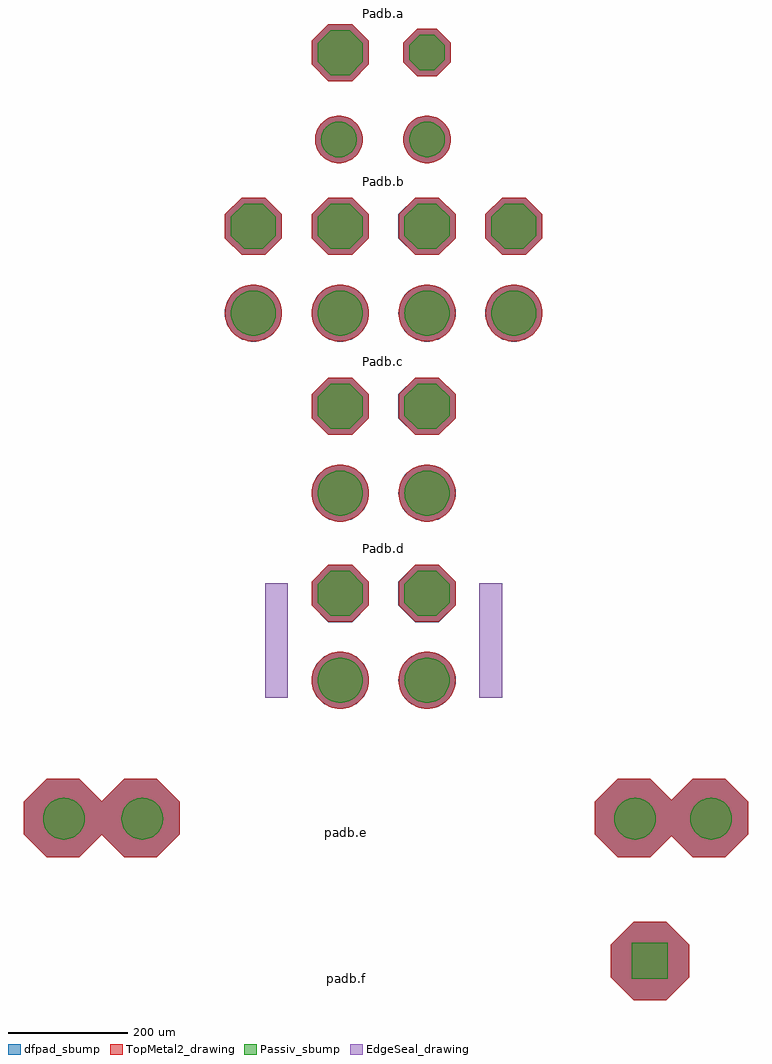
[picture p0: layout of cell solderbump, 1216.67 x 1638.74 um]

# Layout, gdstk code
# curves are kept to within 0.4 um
import gdstk
lib = gdstk.Library(unit=1e-6, precision=1e-09)
def R(c, l, rs):  # rectangles x0, y0, x1, y1
    for r in rs: c.add(gdstk.rectangle(r[:2], r[2:], *l))
def P(c, l, *ps):  # polygons
    for p in ps: c.add(gdstk.Polygon(p, *l))
Passiv_sbump = (9, 36)
EdgeSeal_drawing = (39, 0)
dfpad_sbump = (41, 36)
TopMetal2_drawing = (134, 0)

solderbump = lib.new_cell('solderbump')
R(solderbump, Passiv_sbump, [(416.93,-1639.755,476.95,-1579.735)])
P(solderbump, Passiv_sbump, [(72.9,-260.55),(67.05,-260),(61.45,-258.25),(56.25,-255.5),(51.7,-251.8),(48,-247.25),(45.2,-242.05),(43.5,-236.45),(42.95,-230.6),(43.5,-224.75),(45.2,-219.15),(48,-213.95),(51.7,-209.4),(56.25,-205.65),(61.45,-202.9),(67.05,-201.2),(72.9,-200.65),(78.75,-201.2),(84.35,-202.9),(89.55,-205.65),(94.1,-209.4),(97.8,-213.95),(100.6,-219.15),(102.3,-224.75),(102.85,-230.6),(102.3,-236.45),(100.6,-242.05),(97.8,-247.25),(94.1,-251.8),(89.55,-255.5),(84.35,-258.3),(78.75,-260)],
  [(72.9,-862.38),(65.505,-861.65),(58.395,-859.495),(51.845,-855.995),(46.1,-851.28),(41.385,-845.535),(37.885,-838.985),(35.73,-831.875),(35,-824.48),(35.73,-817.085),(37.885,-809.975),(41.385,-803.425),(46.1,-797.68),(51.845,-792.965),(58.395,-789.465),(65.505,-787.31),(72.9,-786.58),(80.295,-787.31),(87.405,-789.465),(93.955,-792.965),(99.7,-797.68),(104.415,-803.425),(107.915,-809.975),(110.07,-817.085),(110.8,-824.48),(110.07,-831.875),(107.915,-838.985),(104.415,-845.535),(99.7,-851.28),(93.955,-855.995),(87.405,-859.495),(80.295,-861.65)],
  [(72.9,-1176.57),(65.505,-1175.84),(58.395,-1173.685),(51.845,-1170.185),(46.1,-1165.47),(41.385,-1159.725),(37.885,-1153.175),(35.73,-1146.065),(35,-1138.67),(35.73,-1131.275),(37.885,-1124.165),(41.385,-1117.615),(46.1,-1111.87),(51.845,-1107.155),(58.395,-1103.655),(65.505,-1101.5),(72.9,-1100.77),(80.295,-1101.5),(87.405,-1103.655),(93.955,-1107.155),(99.7,-1111.87),(104.415,-1117.615),(107.915,-1124.165),(110.07,-1131.275),(110.8,-1138.67),(110.07,-1146.065),(107.915,-1153.175),(104.415,-1159.725),(99.7,-1165.47),(93.955,-1170.185),(87.405,-1173.685),(80.295,-1175.84)],
  [(-88.6,-414.29),(-110.8,-392.09),(-110.8,-360.69),(-88.6,-338.49),(-57.2,-338.49),(-35,-360.69),(-35,-392.09),(-57.2,-414.29)],
  [(57.2,-414.29),(35,-392.09),(35,-360.69),(57.2,-338.49),(88.6,-338.49),(110.8,-360.69),(110.8,-392.09),(88.6,-414.29)],
  [(-234.4,-414.29),(-256.6,-392.09),(-256.6,-360.69),(-234.4,-338.49),(-203,-338.49),(-180.8,-360.69),(-180.8,-392.09),(-203,-414.29)],
  [(202.99,-414.29),(180.79,-392.09),(180.79,-360.69),(202.99,-338.49),(234.39,-338.49),(256.59,-360.69),(256.59,-392.09),(234.39,-414.29)],
  [(-88.6,-716.58),(-110.8,-694.38),(-110.8,-662.98),(-88.6,-640.78),(-57.2,-640.78),(-35,-662.98),(-35,-694.38),(-57.2,-716.58)],
  [(57.2,-716.58),(35,-694.38),(35,-662.98),(57.2,-640.78),(88.6,-640.78),(110.8,-662.98),(110.8,-694.38),(88.6,-716.58)],
  [(-88.6,-1030.77),(-110.8,-1008.57),(-110.8,-977.17),(-88.6,-954.97),(-57.2,-954.97),(-35,-977.17),(-35,-1008.57),(-57.2,-1030.77)],
  [(57.2,-1030.77),(35,-1008.57),(35,-977.17),(57.2,-954.97),(88.6,-954.97),(110.8,-977.17),(110.8,-1008.57),(88.6,-1030.77)],
  [(-72.9,-560.09),(-80.295,-559.36),(-87.405,-557.205),(-93.955,-553.705),(-99.7,-548.99),(-104.415,-543.245),(-107.915,-536.695),(-110.07,-529.585),(-110.8,-522.19),(-110.07,-514.795),(-107.915,-507.685),(-104.415,-501.135),(-99.7,-495.39),(-93.955,-490.675),(-87.405,-487.175),(-80.295,-485.02),(-72.9,-484.29),(-65.505,-485.02),(-58.395,-487.175),(-51.845,-490.675),(-46.1,-495.39),(-41.385,-501.135),(-37.885,-507.685),(-35.73,-514.795),(-35,-522.19),(-35.73,-529.585),(-37.885,-536.695),(-41.385,-543.245),(-46.1,-548.99),(-51.845,-553.705),(-58.395,-557.205),(-65.505,-559.36)],
  [(-72.9,-1176.57),(-80.295,-1175.84),(-87.405,-1173.685),(-93.955,-1170.185),(-99.7,-1165.47),(-104.415,-1159.725),(-107.915,-1153.175),(-110.07,-1146.065),(-110.8,-1138.67),(-110.07,-1131.275),(-107.915,-1124.165),(-104.415,-1117.615),(-99.7,-1111.87),(-93.955,-1107.155),(-87.405,-1103.655),(-80.295,-1101.5),(-72.9,-1100.77),(-65.505,-1101.5),(-58.395,-1103.655),(-51.845,-1107.155),(-46.1,-1111.87),(-41.385,-1117.615),(-37.885,-1124.165),(-35.73,-1131.275),(-35,-1138.67),(-35.73,-1146.065),(-37.885,-1153.175),(-41.385,-1159.725),(-46.1,-1165.47),(-51.845,-1170.185),(-58.395,-1173.685),(-65.505,-1175.84)],
  [(-218.7,-560.09),(-226.095,-559.36),(-233.205,-557.205),(-239.755,-553.705),(-245.5,-548.99),(-250.215,-543.245),(-253.715,-536.695),(-255.87,-529.585),(-256.6,-522.19),(-255.87,-514.795),(-253.715,-507.685),(-250.215,-501.135),(-245.5,-495.39),(-239.755,-490.675),(-233.205,-487.175),(-226.095,-485.02),(-218.7,-484.29),(-211.305,-485.02),(-204.195,-487.175),(-197.645,-490.675),(-191.9,-495.39),(-187.185,-501.135),(-183.685,-507.685),(-181.53,-514.795),(-180.8,-522.19),(-181.53,-529.585),(-183.685,-536.695),(-187.185,-543.245),(-191.9,-548.99),(-197.645,-553.705),(-204.195,-557.205),(-211.305,-559.36)],
  [(72.9,-560.09),(65.505,-559.36),(58.395,-557.205),(51.845,-553.705),(46.1,-548.99),(41.385,-543.245),(37.885,-536.695),(35.73,-529.585),(35,-522.19),(35.73,-514.795),(37.885,-507.685),(41.385,-501.135),(46.1,-495.39),(51.845,-490.675),(58.395,-487.175),(65.505,-485.02),(72.9,-484.29),(80.295,-485.02),(87.405,-487.175),(93.955,-490.675),(99.7,-495.39),(104.415,-501.135),(107.915,-507.685),(110.07,-514.795),(110.8,-522.19),(110.07,-529.585),(107.915,-536.695),(104.415,-543.245),(99.7,-548.99),(93.955,-553.705),(87.405,-557.205),(80.295,-559.36)],
  [(-72.9,-862.38),(-80.295,-861.65),(-87.405,-859.495),(-93.955,-855.995),(-99.7,-851.28),(-104.415,-845.535),(-107.915,-838.985),(-110.07,-831.875),(-110.8,-824.48),(-110.07,-817.085),(-107.915,-809.975),(-104.415,-803.425),(-99.7,-797.68),(-93.955,-792.965),(-87.405,-789.465),(-80.295,-787.31),(-72.9,-786.58),(-65.505,-787.31),(-58.395,-789.465),(-51.845,-792.965),(-46.1,-797.68),(-41.385,-803.425),(-37.885,-809.975),(-35.73,-817.085),(-35,-824.48),(-35.73,-831.875),(-37.885,-838.985),(-41.385,-845.535),(-46.1,-851.28),(-51.845,-855.995),(-58.395,-859.495),(-65.505,-861.65)],
  [(218.69,-560.09),(211.295,-559.36),(204.185,-557.205),(197.635,-553.705),(191.89,-548.99),(187.175,-543.245),(183.675,-536.695),(181.52,-529.585),(180.79,-522.19),(181.52,-514.795),(183.675,-507.685),(187.175,-501.135),(191.89,-495.39),(197.635,-490.675),(204.185,-487.175),(211.295,-485.02),(218.69,-484.29),(226.085,-485.02),(233.195,-487.175),(239.745,-490.675),(245.49,-495.39),(250.205,-501.135),(253.705,-507.685),(255.86,-514.795),(256.59,-522.19),(255.86,-529.585),(253.705,-536.695),(250.205,-543.245),(245.49,-548.99),(239.745,-553.705),(233.195,-557.205),(226.085,-559.36)],
  [(60.45,-114.75),(42.9,-97.2),(42.9,-72.35),(60.5,-54.8),(85.3,-54.8),(102.85,-72.35),(102.85,-97.2),(85.3,-114.75)],
  [(-75.205,-260.65),(-81.075,-260.1),(-86.695,-258.34),(-91.915,-255.58),(-96.475,-251.87),(-100.185,-247.31),(-102.995,-242.09),(-104.705,-236.47),(-105.255,-230.6),(-104.705,-224.73),(-102.995,-219.11),(-100.185,-213.89),(-96.475,-209.33),(-91.915,-205.57),(-86.695,-202.81),(-81.075,-201.1),(-75.205,-200.55),(-69.335,-201.1),(-63.715,-202.81),(-58.495,-205.57),(-53.935,-209.33),(-50.225,-213.89),(-47.415,-219.11),(-45.705,-224.73),(-45.155,-230.6),(-45.705,-236.47),(-47.415,-242.09),(-50.225,-247.31),(-53.935,-251.87),(-58.495,-255.58),(-63.715,-258.39),(-69.335,-260.1)],
  [(-88.6,-122.69),(-110.8,-100.49),(-110.8,-69.09),(-88.6,-46.89),(-57.2,-46.89),(-35,-69.09),(-35,-100.49),(-57.2,-122.69)],
  [(420.351,-1406.114),(413.555,-1405.106),(407.088,-1402.792),(401.195,-1399.26),(396.105,-1394.647),(392.013,-1389.129),(389.076,-1382.919),(387.407,-1376.256),(387.07,-1369.395),(388.078,-1362.599),(390.392,-1356.132),(393.924,-1350.239),(398.537,-1345.149),(404.055,-1341.057),(410.265,-1338.12),(416.928,-1336.451),(423.789,-1336.114),(430.585,-1337.122),(437.052,-1339.436),(442.945,-1342.968),(448.035,-1347.581),(452.127,-1353.099),(455.064,-1359.309),(456.733,-1365.972),(457.07,-1372.833),(456.062,-1379.629),(453.748,-1386.096),(450.216,-1391.989),(445.603,-1397.079),(440.085,-1401.171),(433.875,-1404.108),(427.212,-1405.777)],
  [(548.106,-1406.114),(541.31,-1405.106),(534.843,-1402.792),(528.95,-1399.26),(523.86,-1394.647),(519.768,-1389.129),(516.831,-1382.919),(515.162,-1376.256),(514.825,-1369.395),(515.833,-1362.599),(518.147,-1356.132),(521.679,-1350.239),(526.292,-1345.149),(531.81,-1341.057),(538.02,-1338.12),(544.683,-1336.451),(551.544,-1336.114),(558.34,-1337.122),(564.807,-1339.436),(570.7,-1342.968),(575.79,-1347.581),(579.882,-1353.099),(582.819,-1359.309),(584.488,-1365.972),(584.825,-1372.833),(583.817,-1379.629),(581.503,-1386.096),(577.971,-1391.989),(573.358,-1397.079),(567.84,-1401.171),(561.63,-1404.108),(554.967,-1405.777)],
  [(-538.649,-1406.114),(-545.445,-1405.106),(-551.912,-1402.792),(-557.805,-1399.26),(-562.895,-1394.647),(-566.987,-1389.129),(-569.924,-1382.919),(-571.593,-1376.256),(-571.93,-1369.395),(-570.922,-1362.599),(-568.608,-1356.132),(-565.076,-1350.239),(-560.463,-1345.149),(-554.945,-1341.057),(-548.735,-1338.12),(-542.072,-1336.451),(-535.211,-1336.114),(-528.415,-1337.122),(-521.948,-1339.436),(-516.055,-1342.968),(-510.965,-1347.581),(-506.873,-1353.099),(-503.936,-1359.309),(-502.267,-1365.972),(-501.93,-1372.833),(-502.938,-1379.629),(-505.252,-1386.096),(-508.784,-1391.989),(-513.397,-1397.079),(-518.915,-1401.171),(-525.125,-1404.108),(-531.788,-1405.777)],
  [(-406.894,-1406.114),(-413.69,-1405.106),(-420.157,-1402.792),(-426.05,-1399.26),(-431.14,-1394.647),(-435.232,-1389.129),(-438.169,-1382.919),(-439.838,-1376.256),(-440.175,-1369.395),(-439.167,-1362.599),(-436.853,-1356.132),(-433.321,-1350.239),(-428.708,-1345.149),(-423.19,-1341.057),(-416.98,-1338.12),(-410.317,-1336.451),(-403.456,-1336.114),(-396.66,-1337.122),(-390.193,-1339.436),(-384.3,-1342.968),(-379.21,-1347.581),(-375.118,-1353.099),(-372.181,-1359.309),(-370.512,-1365.972),(-370.175,-1372.833),(-371.183,-1379.629),(-373.497,-1386.096),(-377.029,-1391.989),(-381.642,-1397.079),(-387.16,-1401.171),(-393.37,-1404.108),(-400.033,-1405.777)])
R(solderbump, EdgeSeal_drawing, [(-198.765,-1168.255,-160.8,-975.4), (160.79,-1168.255,198.755,-975.4)])
P(solderbump, dfpad_sbump, [(-92.785,-132.795),(-120.9,-104.68),(-120.9,-64.9),(-92.785,-36.785),(-53.015,-36.785),(-24.9,-64.9),(-24.9,-104.68),(-53.015,-132.795)],
  [(218.69,-570.2),(209.325,-569.275),(200.32,-566.545),(192.015,-562.11),(184.74,-556.14),(178.77,-548.865),(174.335,-540.56),(171.605,-531.555),(170.68,-522.19),(171.605,-512.825),(174.335,-503.82),(178.77,-495.515),(184.74,-488.24),(192.015,-482.27),(200.32,-477.835),(209.325,-475.105),(218.69,-474.18),(228.055,-475.105),(237.06,-477.835),(245.365,-482.27),(252.64,-488.24),(258.61,-495.515),(263.045,-503.82),(265.775,-512.825),(266.7,-522.19),(265.775,-531.555),(263.045,-540.56),(258.61,-548.865),(252.64,-556.14),(245.365,-562.11),(237.06,-566.545),(228.055,-569.275)],
  [(198.805,-424.395),(170.69,-396.28),(170.69,-356.5),(198.805,-328.385),(238.575,-328.385),(266.69,-356.5),(266.69,-396.28),(238.575,-424.395)],
  [(72.9,-1186.68),(63.535,-1185.755),(54.53,-1183.025),(46.225,-1178.59),(38.95,-1172.62),(32.98,-1165.345),(28.545,-1157.04),(25.815,-1148.035),(24.89,-1138.67),(25.815,-1129.305),(28.545,-1120.3),(32.98,-1111.995),(38.95,-1104.72),(46.225,-1098.75),(54.53,-1094.315),(63.535,-1091.585),(72.9,-1090.66),(82.265,-1091.585),(91.27,-1094.315),(99.575,-1098.75),(106.85,-1104.72),(112.82,-1111.995),(117.255,-1120.3),(119.985,-1129.305),(120.91,-1138.67),(119.985,-1148.035),(117.255,-1157.04),(112.82,-1165.345),(106.85,-1172.62),(99.575,-1178.59),(91.27,-1183.025),(82.265,-1185.755)],
  [(72.9,-872.49),(63.535,-871.565),(54.53,-868.835),(46.225,-864.4),(38.95,-858.43),(32.98,-851.155),(28.545,-842.85),(25.815,-833.845),(24.89,-824.48),(25.815,-815.115),(28.545,-806.11),(32.98,-797.805),(38.95,-790.53),(46.225,-784.56),(54.53,-780.125),(63.535,-777.395),(72.9,-776.47),(82.265,-777.395),(91.27,-780.125),(99.575,-784.56),(106.85,-790.53),(112.82,-797.805),(117.255,-806.11),(119.985,-815.115),(120.91,-824.48),(119.985,-833.845),(117.255,-842.85),(112.82,-851.155),(106.85,-858.43),(99.575,-864.4),(91.27,-868.835),(82.265,-871.565)],
  [(72.9,-570.2),(63.535,-569.275),(54.53,-566.545),(46.225,-562.11),(38.95,-556.14),(32.98,-548.865),(28.545,-540.56),(25.815,-531.555),(24.89,-522.19),(25.815,-512.825),(28.545,-503.82),(32.98,-495.515),(38.95,-488.24),(46.225,-482.27),(54.53,-477.835),(63.535,-475.105),(72.9,-474.18),(82.265,-475.105),(91.27,-477.835),(99.575,-482.27),(106.85,-488.24),(112.82,-495.515),(117.255,-503.82),(119.985,-512.825),(120.91,-522.19),(119.985,-531.555),(117.255,-540.56),(112.82,-548.865),(106.85,-556.14),(99.575,-562.11),(91.27,-566.545),(82.265,-569.275)],
  [(53.015,-1040.875),(24.9,-1012.76),(24.9,-972.98),(53.015,-944.865),(92.785,-944.865),(120.9,-972.98),(120.9,-1012.76),(92.785,-1040.875)],
  [(53.015,-726.685),(24.9,-698.57),(24.9,-658.79),(53.015,-630.675),(92.785,-630.675),(120.9,-658.79),(120.9,-698.57),(92.785,-726.685)],
  [(53.015,-424.395),(24.9,-396.28),(24.9,-356.5),(53.015,-328.385),(92.785,-328.385),(120.9,-356.5),(120.9,-396.28),(92.785,-424.395)],
  [(-72.9,-1186.68),(-82.265,-1185.755),(-91.27,-1183.025),(-99.575,-1178.59),(-106.85,-1172.62),(-112.82,-1165.345),(-117.255,-1157.04),(-119.985,-1148.035),(-120.91,-1138.67),(-119.985,-1129.305),(-117.255,-1120.3),(-112.82,-1111.995),(-106.85,-1104.72),(-99.575,-1098.75),(-91.27,-1094.315),(-82.265,-1091.585),(-72.9,-1090.66),(-63.535,-1091.585),(-54.53,-1094.315),(-46.225,-1098.75),(-38.95,-1104.72),(-32.98,-1111.995),(-28.545,-1120.3),(-25.815,-1129.305),(-24.89,-1138.67),(-25.815,-1148.035),(-28.545,-1157.04),(-32.98,-1165.345),(-38.95,-1172.62),(-46.225,-1178.59),(-54.53,-1183.025),(-63.535,-1185.755)],
  [(-72.9,-872.49),(-82.265,-871.565),(-91.27,-868.835),(-99.575,-864.4),(-106.85,-858.43),(-112.82,-851.155),(-117.255,-842.85),(-119.985,-833.845),(-120.91,-824.48),(-119.985,-815.115),(-117.255,-806.11),(-112.82,-797.805),(-106.85,-790.53),(-99.575,-784.56),(-91.27,-780.125),(-82.265,-777.395),(-72.9,-776.47),(-63.535,-777.395),(-54.53,-780.125),(-46.225,-784.56),(-38.95,-790.53),(-32.98,-797.805),(-28.545,-806.11),(-25.815,-815.115),(-24.89,-824.48),(-25.815,-833.845),(-28.545,-842.85),(-32.98,-851.155),(-38.95,-858.43),(-46.225,-864.4),(-54.53,-868.835),(-63.535,-871.565)],
  [(-72.9,-570.2),(-82.265,-569.275),(-91.27,-566.545),(-99.575,-562.11),(-106.85,-556.14),(-112.82,-548.865),(-117.255,-540.56),(-119.985,-531.555),(-120.91,-522.19),(-119.985,-512.825),(-117.255,-503.82),(-112.82,-495.515),(-106.85,-488.24),(-99.575,-482.27),(-91.27,-477.835),(-82.265,-475.105),(-72.9,-474.18),(-63.535,-475.105),(-54.53,-477.835),(-46.225,-482.27),(-38.95,-488.24),(-32.98,-495.515),(-28.545,-503.82),(-25.815,-512.825),(-24.89,-522.19),(-25.815,-531.555),(-28.545,-540.56),(-32.98,-548.865),(-38.95,-556.14),(-46.225,-562.11),(-54.53,-566.545),(-63.535,-569.275)],
  [(-92.785,-1040.875),(-120.9,-1012.76),(-120.9,-972.98),(-92.785,-944.865),(-53.015,-944.865),(-24.9,-972.98),(-24.9,-1012.76),(-53.015,-1040.875)],
  [(-92.785,-726.685),(-120.9,-698.57),(-120.9,-658.79),(-92.785,-630.675),(-53.015,-630.675),(-24.9,-658.79),(-24.9,-698.57),(-53.015,-726.685)],
  [(56.33,-1032.875),(32.9,-1009.445),(32.9,-976.295),(56.33,-952.865),(89.47,-952.865),(112.9,-976.295),(112.9,-1009.445),(89.47,-1032.875)],
  [(-75.205,-270.59),(-83.009,-269.821),(-90.512,-267.545),(-97.428,-263.849),(-103.489,-258.874),(-108.464,-252.813),(-112.16,-245.897),(-114.436,-238.394),(-115.205,-230.59),(-114.436,-222.786),(-112.16,-215.283),(-108.464,-208.367),(-103.489,-202.306),(-97.428,-197.331),(-90.512,-193.635),(-83.009,-191.359),(-75.205,-190.59),(-67.401,-191.359),(-59.898,-193.635),(-52.982,-197.331),(-46.921,-202.306),(-41.946,-208.367),(-38.25,-215.283),(-35.974,-222.786),(-35.205,-230.59),(-35.974,-238.394),(-38.25,-245.897),(-41.946,-252.813),(-46.921,-258.874),(-52.982,-263.849),(-59.898,-267.545),(-67.401,-269.821)],
  [(-92.785,-424.395),(-120.9,-396.28),(-120.9,-356.5),(-92.785,-328.385),(-53.015,-328.385),(-24.9,-356.5),(-24.9,-396.28),(-53.015,-424.395)],
  [(56.32,-124.785),(32.9,-101.365),(32.9,-68.215),(56.33,-44.785),(89.45,-44.785),(112.88,-68.215),(112.88,-101.365),(89.46,-124.785)],
  [(72.9,-270.59),(65.096,-269.821),(57.593,-267.545),(50.677,-263.849),(44.616,-258.874),(39.641,-252.813),(35.945,-245.897),(33.669,-238.394),(32.9,-230.59),(33.669,-222.786),(35.945,-215.283),(39.641,-208.367),(44.616,-202.306),(50.677,-197.331),(57.593,-193.635),(65.096,-191.359),(72.9,-190.59),(80.704,-191.359),(88.207,-193.635),(95.123,-197.331),(101.184,-202.306),(106.159,-208.367),(109.855,-215.283),(112.131,-222.786),(112.9,-230.59),(112.131,-238.394),(109.855,-245.897),(106.159,-252.813),(101.184,-258.874),(95.123,-263.849),(88.207,-267.545),(80.704,-269.821)],
  [(-238.585,-424.395),(-266.7,-396.28),(-266.7,-356.5),(-238.585,-328.385),(-198.815,-328.385),(-170.7,-356.5),(-170.7,-396.28),(-198.815,-424.395)],
  [(-218.7,-570.2),(-228.065,-569.275),(-237.07,-566.545),(-245.375,-562.11),(-252.65,-556.14),(-258.62,-548.865),(-263.055,-540.56),(-265.785,-531.555),(-266.71,-522.19),(-265.785,-512.825),(-263.055,-503.82),(-258.62,-495.515),(-252.65,-488.24),(-245.375,-482.27),(-237.07,-477.835),(-228.065,-475.105),(-218.7,-474.18),(-209.335,-475.105),(-200.33,-477.835),(-192.025,-482.27),(-184.75,-488.24),(-178.78,-495.515),(-174.345,-503.82),(-171.615,-512.825),(-170.69,-522.19),(-171.615,-531.555),(-174.345,-540.56),(-178.78,-548.865),(-184.75,-556.14),(-192.025,-562.11),(-200.33,-566.545),(-209.335,-569.275)],
  [(419.692,-1675.527),(381.157,-1636.992),(381.157,-1582.496),(419.692,-1543.961),(474.188,-1543.961),(512.723,-1582.496),(512.723,-1636.992),(474.188,-1675.527)],
  [(-565.853,-1435.627),(-604.388,-1397.092),(-604.388,-1342.596),(-565.853,-1304.061),(-511.357,-1304.061),(-472.822,-1342.596),(-472.822,-1397.092),(-511.357,-1435.627)],
  [(-435.753,-1435.627),(-474.288,-1397.092),(-474.288,-1342.596),(-435.753,-1304.061),(-381.257,-1304.061),(-342.722,-1342.596),(-342.722,-1397.092),(-381.257,-1435.627)],
  [(393.147,-1435.627),(354.612,-1397.092),(354.612,-1342.596),(393.147,-1304.061),(447.643,-1304.061),(486.178,-1342.596),(486.178,-1397.092),(447.643,-1435.627)],
  [(519.247,-1435.627),(480.712,-1397.092),(480.712,-1342.596),(519.247,-1304.061),(573.743,-1304.061),(612.278,-1342.596),(612.278,-1397.092),(573.743,-1435.627)])
P(solderbump, TopMetal2_drawing, [(-75.205,-270.59),(-83.01,-269.82),(-90.51,-267.545),(-97.43,-263.85),(-103.49,-258.875),(-108.465,-252.815),(-112.16,-245.895),(-114.435,-238.395),(-115.205,-230.59),(-114.435,-222.785),(-112.16,-215.285),(-108.465,-208.365),(-103.49,-202.305),(-97.43,-197.33),(-90.51,-193.635),(-83.01,-191.36),(-75.205,-190.59),(-67.4,-191.36),(-59.9,-193.635),(-52.98,-197.33),(-46.92,-202.305),(-41.945,-208.365),(-38.25,-215.285),(-35.975,-222.785),(-35.205,-230.59),(-35.975,-238.395),(-38.25,-245.895),(-41.945,-252.815),(-46.92,-258.875),(-52.98,-263.85),(-59.9,-267.545),(-67.4,-269.82)],
  [(-72.9,-570.1),(-82.245,-569.18),(-91.235,-566.45),(-99.52,-562.025),(-106.775,-556.065),(-112.735,-548.81),(-117.16,-540.525),(-119.89,-531.535),(-120.81,-522.19),(-119.89,-512.845),(-117.16,-503.855),(-112.735,-495.57),(-106.775,-488.315),(-99.52,-482.355),(-91.235,-477.93),(-82.245,-475.2),(-72.9,-474.28),(-63.555,-475.2),(-54.565,-477.93),(-46.28,-482.355),(-39.025,-488.315),(-33.065,-495.57),(-28.64,-503.855),(-25.91,-512.845),(-24.99,-522.19),(-25.91,-531.535),(-28.64,-540.525),(-33.065,-548.81),(-39.025,-556.065),(-46.28,-562.025),(-54.565,-566.45),(-63.555,-569.18)],
  [(72.9,-570.1),(63.555,-569.18),(54.565,-566.45),(46.28,-562.025),(39.025,-556.065),(33.065,-548.81),(28.64,-540.525),(25.91,-531.535),(24.99,-522.19),(25.91,-512.845),(28.64,-503.855),(33.065,-495.57),(39.025,-488.315),(46.28,-482.355),(54.565,-477.93),(63.555,-475.2),(72.9,-474.28),(82.245,-475.2),(91.235,-477.93),(99.52,-482.355),(106.775,-488.315),(112.735,-495.57),(117.16,-503.855),(119.89,-512.845),(120.81,-522.19),(119.89,-531.535),(117.16,-540.525),(112.735,-548.81),(106.775,-556.065),(99.52,-562.025),(91.235,-566.45),(82.245,-569.18)],
  [(218.69,-570.1),(209.345,-569.18),(200.355,-566.45),(192.07,-562.025),(184.815,-556.065),(178.855,-548.81),(174.43,-540.525),(171.7,-531.535),(170.78,-522.19),(171.7,-512.845),(174.43,-503.855),(178.855,-495.57),(184.815,-488.315),(192.07,-482.355),(200.355,-477.93),(209.345,-475.2),(218.69,-474.28),(228.035,-475.2),(237.025,-477.93),(245.31,-482.355),(252.565,-488.315),(258.525,-495.57),(262.95,-503.855),(265.68,-512.845),(266.6,-522.19),(265.68,-531.535),(262.95,-540.525),(258.525,-548.81),(252.565,-556.065),(245.31,-562.025),(237.025,-566.45),(228.035,-569.18)],
  [(-92.74,-424.295),(-120.8,-396.235),(-120.8,-356.545),(-92.74,-328.485),(-53.06,-328.485),(-25,-356.545),(-25,-396.235),(-53.06,-424.295)],
  [(198.835,-424.295),(170.775,-396.235),(170.775,-356.545),(198.835,-328.485),(238.515,-328.485),(266.575,-356.545),(266.575,-396.235),(238.515,-424.295)],
  [(-218.7,-570.1),(-228.045,-569.18),(-237.035,-566.45),(-245.32,-562.025),(-252.575,-556.065),(-258.535,-548.81),(-262.96,-540.525),(-265.69,-531.535),(-266.61,-522.19),(-265.69,-512.845),(-262.96,-503.855),(-258.535,-495.57),(-252.575,-488.315),(-245.32,-482.355),(-237.035,-477.93),(-228.045,-475.2),(-218.7,-474.28),(-209.355,-475.2),(-200.365,-477.93),(-192.08,-482.355),(-184.825,-488.315),(-178.865,-495.57),(-174.44,-503.855),(-171.71,-512.845),(-170.79,-522.19),(-171.71,-531.535),(-174.44,-540.525),(-178.865,-548.81),(-184.825,-556.065),(-192.08,-562.025),(-200.365,-566.45),(-209.355,-569.18)],
  [(53.06,-424.295),(25,-396.235),(25,-356.545),(53.06,-328.485),(92.74,-328.485),(120.8,-356.545),(120.8,-396.235),(92.74,-424.295)],
  [(53.08,-726.535),(25.05,-698.505),(25.05,-658.855),(53.08,-630.825),(92.72,-630.825),(120.75,-658.855),(120.75,-698.505),(92.72,-726.535)],
  [(-72.9,-1186.58),(-82.245,-1185.66),(-91.235,-1182.93),(-99.52,-1178.505),(-106.775,-1172.545),(-112.735,-1165.29),(-117.16,-1157.005),(-119.89,-1148.015),(-120.81,-1138.67),(-119.89,-1129.325),(-117.16,-1120.335),(-112.735,-1112.05),(-106.775,-1104.795),(-99.52,-1098.835),(-91.235,-1094.41),(-82.245,-1091.68),(-72.9,-1090.76),(-63.555,-1091.68),(-54.565,-1094.41),(-46.28,-1098.835),(-39.025,-1104.795),(-33.065,-1112.05),(-28.64,-1120.335),(-25.91,-1129.325),(-24.99,-1138.67),(-25.91,-1148.015),(-28.64,-1157.005),(-33.065,-1165.29),(-39.025,-1172.545),(-46.28,-1178.505),(-54.565,-1182.93),(-63.555,-1185.66)],
  [(53.08,-1040.725),(25.05,-1012.695),(25.05,-973.045),(53.08,-945.015),(92.72,-945.015),(120.75,-973.045),(120.75,-1012.695),(92.72,-1040.725)],
  [(72.9,-270.59),(65.095,-269.82),(57.595,-267.545),(50.675,-263.85),(44.615,-258.875),(39.64,-252.815),(35.945,-245.895),(33.67,-238.395),(32.9,-230.59),(33.67,-222.785),(35.945,-215.285),(39.64,-208.365),(44.615,-202.305),(50.675,-197.33),(57.595,-193.635),(65.095,-191.36),(72.9,-190.59),(80.705,-191.36),(88.205,-193.635),(95.125,-197.33),(101.185,-202.305),(106.16,-208.365),(109.855,-215.285),(112.13,-222.785),(112.9,-230.59),(112.13,-238.395),(109.855,-245.895),(106.16,-252.815),(101.185,-258.875),(95.125,-263.85),(88.205,-267.545),(80.705,-269.82)],
  [(-92.74,-132.695),(-120.8,-104.635),(-120.8,-64.945),(-92.74,-36.885),(-53.06,-36.885),(-25,-64.945),(-25,-104.635),(-53.06,-132.695)],
  [(72.9,-872.34),(63.565,-871.42),(54.585,-868.695),(46.31,-864.275),(39.06,-858.32),(33.105,-851.07),(28.685,-842.795),(25.96,-833.815),(25.04,-824.48),(25.96,-815.145),(28.685,-806.165),(33.105,-797.89),(39.06,-790.64),(46.31,-784.685),(54.585,-780.265),(63.565,-777.54),(72.9,-776.62),(82.235,-777.54),(91.215,-780.265),(99.49,-784.685),(106.74,-790.64),(112.695,-797.89),(117.115,-806.165),(119.84,-815.145),(120.76,-824.48),(119.84,-833.815),(117.115,-842.795),(112.695,-851.07),(106.74,-858.32),(99.49,-864.275),(91.215,-868.695),(82.235,-871.42)],
  [(-92.74,-1040.775),(-120.8,-1012.715),(-120.8,-973.025),(-92.74,-944.965),(-53.06,-944.965),(-25,-973.025),(-25,-1012.715),(-53.06,-1040.775)],
  [(72.9,-1186.58),(63.555,-1185.66),(54.565,-1182.93),(46.28,-1178.505),(39.025,-1172.545),(33.065,-1165.29),(28.64,-1157.005),(25.91,-1148.015),(24.99,-1138.67),(25.91,-1129.325),(28.64,-1120.335),(33.065,-1112.05),(39.025,-1104.795),(46.28,-1098.835),(54.565,-1094.41),(63.555,-1091.68),(72.9,-1090.76),(82.245,-1091.68),(91.235,-1094.41),(99.52,-1098.835),(106.775,-1104.795),(112.735,-1112.05),(117.16,-1120.335),(119.89,-1129.325),(120.81,-1138.67),(119.89,-1148.015),(117.16,-1157.005),(112.735,-1165.29),(106.775,-1172.545),(99.52,-1178.505),(91.235,-1182.93),(82.245,-1185.66)],
  [(-92.74,-726.585),(-120.8,-698.525),(-120.8,-658.835),(-92.74,-630.775),(-53.06,-630.775),(-25,-658.835),(-25,-698.525),(-53.06,-726.585)],
  [(-72.9,-872.39),(-82.245,-871.47),(-91.235,-868.74),(-99.52,-864.315),(-106.775,-858.355),(-112.735,-851.1),(-117.16,-842.815),(-119.89,-833.825),(-120.81,-824.48),(-119.89,-815.135),(-117.16,-806.145),(-112.735,-797.86),(-106.775,-790.605),(-99.52,-784.645),(-91.235,-780.22),(-82.245,-777.49),(-72.9,-776.57),(-63.555,-777.49),(-54.565,-780.22),(-46.28,-784.645),(-39.025,-790.605),(-33.065,-797.86),(-28.64,-806.145),(-25.91,-815.135),(-24.99,-824.48),(-25.91,-833.825),(-28.64,-842.815),(-33.065,-851.1),(-39.025,-858.355),(-46.28,-864.315),(-54.565,-868.74),(-63.555,-871.47)],
  [(-238.54,-424.295),(-266.6,-396.235),(-266.6,-356.545),(-238.54,-328.485),(-198.86,-328.485),(-170.8,-356.545),(-170.8,-396.235),(-198.86,-424.295)],
  [(56.32,-124.785),(32.9,-101.365),(32.9,-68.215),(56.33,-44.785),(89.45,-44.785),(112.88,-68.215),(112.88,-101.365),(89.46,-124.785)],
  [(419.692,-1675.527),(381.157,-1636.992),(381.157,-1582.496),(419.692,-1543.961),(474.188,-1543.961),(512.723,-1582.496),(512.723,-1636.992),(474.188,-1675.527)],
  [(-565.853,-1435.627),(-604.388,-1397.092),(-604.388,-1342.596),(-565.853,-1304.061),(-511.357,-1304.061),(-472.822,-1342.596),(-472.822,-1397.092),(-511.357,-1435.627)],
  [(-435.753,-1435.627),(-474.288,-1397.092),(-474.288,-1342.596),(-435.753,-1304.061),(-381.257,-1304.061),(-342.722,-1342.596),(-342.722,-1397.092),(-381.257,-1435.627)],
  [(393.147,-1435.627),(354.612,-1397.092),(354.612,-1342.596),(393.147,-1304.061),(447.643,-1304.061),(486.178,-1342.596),(486.178,-1397.092),(447.643,-1435.627)],
  [(519.247,-1435.627),(480.712,-1397.092),(480.712,-1342.596),(519.247,-1304.061),(573.743,-1304.061),(612.278,-1342.596),(612.278,-1397.092),(573.743,-1435.627)])
solderbump.add(gdstk.Label('Padb.b', (0,-300.898), layer=63, texttype=0))
solderbump.add(gdstk.Label('Padb.c', (0,-603.188), layer=63, texttype=0))
solderbump.add(gdstk.Label('Padb.d', (0,-917.378), layer=63, texttype=0))
solderbump.add(gdstk.Label('FAIL', (40,80.518), layer=63, texttype=0))
solderbump.add(gdstk.Label('PASS', (-40,80.518), layer=63, texttype=0))
solderbump.add(gdstk.Label('Padb.a', (0,-19.235), layer=63, texttype=0))
solderbump.add(gdstk.Label('padb.f', (-62.85,-1639.125), layer=63, texttype=0))
solderbump.add(gdstk.Label('padb.e', (-64.7,-1395.05), layer=63, texttype=0))
solderbump.add(gdstk.Label('6.9.1 Solder Bump', (0,169.33), layer=63, texttype=0))

lib.write_gds('solderbump.gds')
